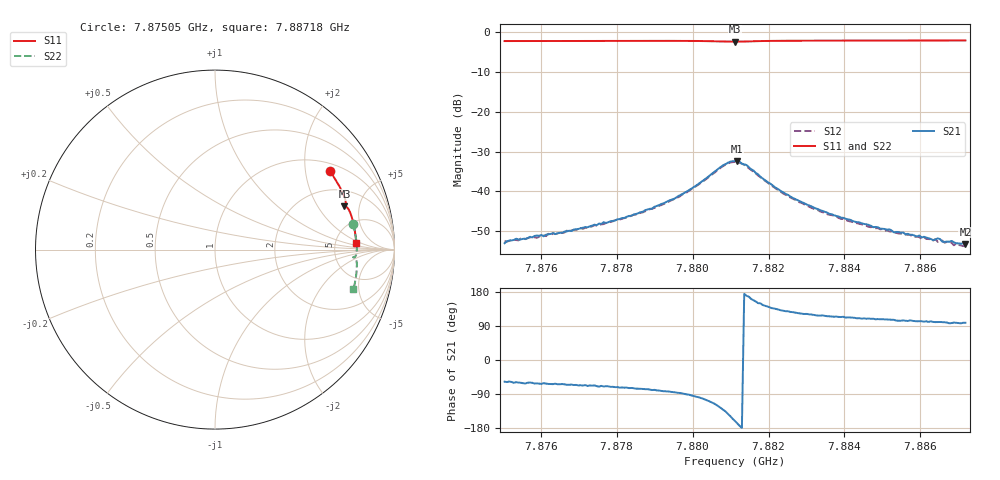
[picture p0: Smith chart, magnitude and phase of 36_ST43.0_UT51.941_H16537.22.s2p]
#  HZ  S  DB  R  50.00
! Rohde & Schwarz Vector Network Analyzer
! Rohde-Schwarz,ZNB20-2Port,1311601062101988,3.16
! Created: UTC 1/12/2023, 6:31:47 PM
! freq[Hz]  db:S11  ang:S11  db:S21  ang:S21  db:S12  ang:S12  db:S22  ang:S22
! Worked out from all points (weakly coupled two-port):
!   201 points, 7.87505 GHz to 7.88718 GHz, reference 50 ohm
!   highest |S21| = -32.36 dB at 7.88118 GHz (marker M1); lowest = -53.2 dB at 7.88718 GHz (marker M2)
!   lowest |S11| = -2.4 dB at 7.88112 GHz (marker M3), VSWR 7.33, Z = 156 + j177 ohm
!   |S11| at or under -10 dB: nowhere
!   |S22| runs from -2.3 to -1.9 dB; largest |S21 - S12| = 0.0017
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7.875052e9  -2.23 34.4  -52.99 -57.2  -52.38 -64.6  -2.13 10.4
7.875355e9  -2.22 33.6  -51.87 -58.5  -52.19 -61.4  -2.13 9.7
7.876083e9  -2.21 31.6  -51.26 -61.1  -51.04 -65.2  -2.10 8.0
7.877114e9  -2.19 28.8  -49.10 -67.3  -49.39 -70.8  -2.08 5.6
7.878206e9  -2.18 25.8  -46.64 -73.1  -46.68 -77.0  -2.05 3.0
7.879116e9  -2.17 23.2  -43.45 -80.6  -43.62 -84.2  -2.04 0.9
7.879844e9  -2.18 21.1  -40.03 -90.7  -40.26 -93.8  -2.05 -1.0
7.880814e9  -2.33 18.5  -33.36 -131.9  -33.57 -135.4  -2.19 -3.2
7.881117e9  -2.38 18.4  -32.39 -161.0  -32.57 -164.5  -2.26 -3.2
7.881178e9  -2.38 18.5  -32.36 -167.3  -32.66 -170.6  -2.25 -3.1
7.881421e9  -2.32 18.3  -33.35 169.3  -33.73 166.9  -2.20 -3.1
7.88233e9  -2.16 15.9  -39.93 131.1  -40.15 128.1  -2.01 -5.1
7.88318e9  -2.12 13.5  -43.96 119.2  -44.33 116.3  -1.98 -7.1
7.884757e9  -2.10 9.2  -48.98 109.0  -48.88 105.4  -1.94 -10.7
7.885181e9  -2.10 8.1  -49.50 106.3  -50.03 103.4  -1.94 -11.7
7.885302e9  -2.09 7.8  -50.26 105.9  -50.33 103.0  -1.93 -11.9
7.886334e9  -2.08 5.1  -52.21 100.5  -52.33 98.1  -1.92 -14.2
7.886394e9  -2.08 4.9  -52.04 99.9  -51.96 100.0  -1.92 -14.3
7.886455e9  -2.08 4.8  -51.78 100.2  -52.66 96.4  -1.92 -14.4
7.886576e9  -2.08 4.4  -52.62 100.0  -52.34 97.4  -1.92 -14.7
7.886879e9  -2.08 3.6  -52.76 98.8  -53.52 96.2  -1.91 -15.3
7.887183e9  -2.07 2.9  -53.15 98.2  -53.47 93.8  -1.92 -16.0
